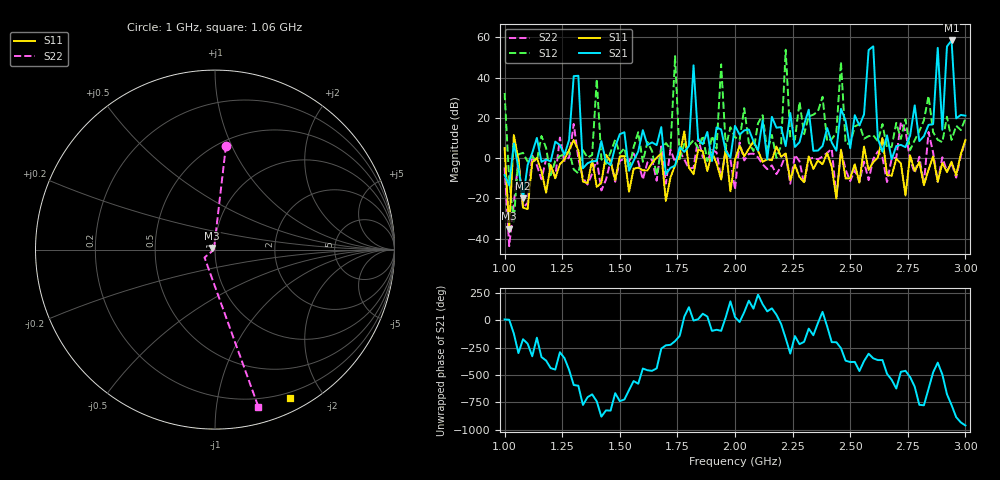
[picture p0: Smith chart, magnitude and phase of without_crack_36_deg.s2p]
# MHz S MA R 50
!  freq  S11  S21  S12  S22
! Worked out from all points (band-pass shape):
!   101 points, 1 GHz to 3 GHz, reference 50 ohm
!   highest |S21| = 58.47 dB at 2.94 GHz (marker M1); lowest = -20.0 dB at 1.08 GHz (marker M2)
!   |S21| within 3 dB of the highest: 2.599251 GHz to 2.60003 GHz (778.7 kHz wide, 0.03 % of centre); 2.92 GHz to 2.942 GHz (21.56 MHz wide, 0.736 % of centre)
!   lowest |S11| = -35.0 dB at 1.02 GHz (marker M3), VSWR 1.04, Z = 48.5 + j0.818 ohm
!   |S11| at or under -10 dB: 1.068 GHz to 1.113 GHz (45.4 MHz wide, 4.16 % of centre); 1.338 GHz to 1.364 GHz (26.39 MHz wide, 1.95 % of centre); 1.394 GHz to 1.423 GHz (29.7 MHz wide, 2.11 % of centre) (the widest 3 of 19)
!   |S22| runs from -43.8 to 17.8 dB; largest |S21 - S12| = 8.4e+02
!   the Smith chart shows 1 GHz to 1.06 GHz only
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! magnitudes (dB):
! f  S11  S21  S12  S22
! 1 GHz  5.0  -8.4  32.3  -4.7
! 1.02 GHz  -35.0  -13.6  -11.5  -43.8
! 1.04 GHz  11.5  7.3  -31.7  -22.7
! 1.08 GHz  -24.7  -20.0  2.6  -24.7
! 1.3 GHz  9.0  40.7  -5.6  17.0
! 1.34 GHz  -11.6  -5.1  4.0  -9.9
! 1.68 GHz  2.2  15.4  4.1  5.8
! 1.74 GHz  -3.6  -3.7  50.7  -2.1
! 1.76 GHz  1.8  5.5  -0.5  3.4
! 1.82 GHz  -8.0  46.1  8.9  -4.8
! 1.92 GHz  -2.5  15.2  4.7  2.9
! 1.94 GHz  -10.6  14.2  46.6  -10.0
! 2 GHz  -0.8  16.1  10.4  -15.7
! 2.18 GHz  5.8  15.1  0.1  -8.0
! 2.22 GHz  2.4  5.9  53.9  1.5
! 2.24 GHz  -11.0  22.4  10.1  -12.7
! 2.34 GHz  -5.4  3.6  21.5  0.1
! 2.6 GHz  -2.0  55.5  11.3  -0.5
! 2.68 GHz  -8.8  -0.6  5.6  -0.1
! 2.9 GHz  -2.4  14.1  7.9  0.4
! 2.94 GHz  -1.8  58.5  9.0  -2.6
! 3 GHz  9.0  21.1  19.6  8.6
